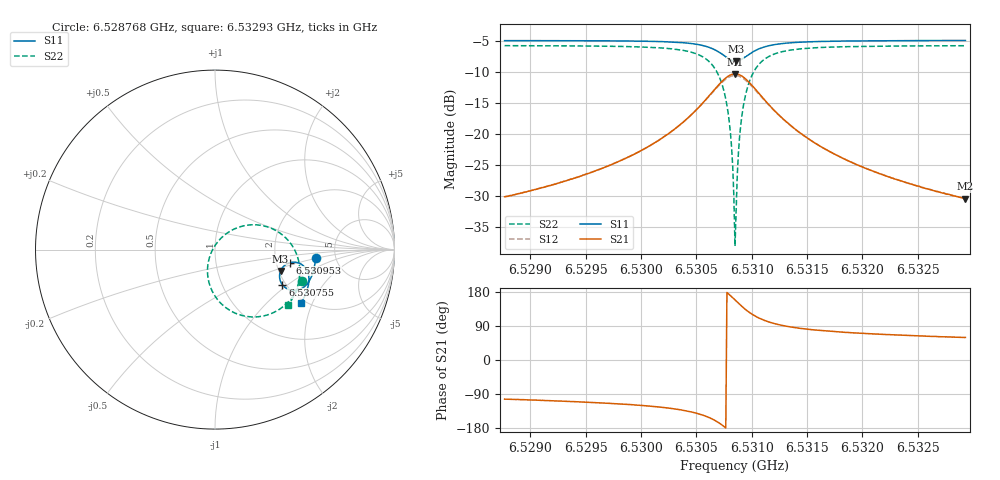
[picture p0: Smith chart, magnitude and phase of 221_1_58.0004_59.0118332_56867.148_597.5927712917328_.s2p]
#  HZ  S  RI  R  50.00
! Rohde & Schwarz Vector Network Analyzer
! Rohde-Schwarz,ZNB20-2Port,1311601062101988,3.16
! Created: UTC 3/21/2024, 1:00:09 AM
! freq[Hz]  re:S11  im:S11  re:S21  im:S21  re:S12  im:S12  re:S22  im:S22
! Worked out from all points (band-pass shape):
!   401 points, 6.528768 GHz to 6.53293 GHz, reference 50 ohm
!   highest |S21| = -10.37 dB at 6.530849 GHz (marker M1); lowest = -30.5 dB at 6.53293 GHz (marker M2)
!   |S21| within 3 dB of the highest: 6.530641 GHz to 6.531058 GHz (416.9 kHz wide, 0.00638 % of centre)
!   lowest |S11| = -8.3 dB at 6.530859 GHz (marker M3), VSWR 2.25, Z = 102 - j28.5 ohm
!   |S11| at or under -10 dB: nowhere
!   |S22| runs from -38.2 to -5.8 dB; largest |S21 - S12| = 0.012
!   S11 on the Smith chart (normalised r, x): 6.528768 GHz: 3.49, -0.50; 6.530755 GHz: 1.92, -0.91; 6.530953 GHz: 2.37, -0.42; 6.53293 GHz: 1.90, -1.66
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6.5287684e9  0.5604 -0.0488  -0.00711 -0.0301  -0.00762 -0.0299  0.4822 -0.1731
6.5294654e9  0.5513 -0.1068  -0.0163 -0.0427  -0.0173 -0.0424  0.4509 -0.2368
6.5301624e9  0.5241 -0.1765  -0.0494 -0.0735  -0.0516 -0.072  0.3691 -0.3258
6.5304017e9  0.4978 -0.2067  -0.0888 -0.0927  -0.0917 -0.0896  0.289 -0.3649
6.5305785e9  0.4547 -0.2267  -0.1564 -0.0991  -0.1587 -0.0928  0.1645 -0.3704
6.5306826e9  0.4101 -0.2222  -0.2251 -0.0734  -0.2243 -0.0636  0.0488 -0.3142
6.5307554e9  0.3753 -0.1957  -0.2757 -0.0153  -0.2701 -0.0054  -0.026 -0.2075
6.530797e9  0.3621 -0.1682  -0.2915 0.0369  -0.2827 0.0452  -0.042 -0.1181
6.5308178e9  0.3597 -0.1519  -0.292 0.0666  -0.2822 0.0732  -0.0372 -0.0694
6.5308282e9  0.3597 -0.1437  -0.2904 0.0817  -0.2799 0.0873  -0.0312 -0.0451
6.5308386e9  0.3607 -0.1352  -0.2868 0.0967  -0.2763 0.1014  -0.0231 -0.0212
6.530849e9  0.3625 -0.127  -0.2821 0.1113  -0.2713 0.1151  -0.0122 0.00185
6.5308594e9  0.3652 -0.1189  -0.2756 0.1254  -0.2649 0.1282  0.00078 0.0236
6.5308698e9  0.3689 -0.1114  -0.2682 0.1389  -0.2573 0.1406  0.0158 0.044
6.5308906e9  0.3783 -0.0974  -0.2493 0.1626  -0.2393 0.1627  0.051 0.0793
6.530901e9  0.3839 -0.0916  -0.2386 0.1729  -0.2288 0.1721  0.0704 0.094
6.5309531e9  0.4163 -0.0727  -0.179 0.2047  -0.1722 0.2018  0.1743 0.1352
6.5310259e9  0.459 -0.0723  -0.1046 0.2071  -0.1009 0.2041  0.2991 0.1242
6.5311299e9  0.4963 -0.0939  -0.0404 0.1765  -0.0387 0.175  0.4025 0.0569
6.531546e9  0.5236 -0.173  0.0153 0.0854  0.0163 0.0851  0.4725 -0.134
6.532243e9  0.5058 -0.2447  0.0175 0.0411  0.0182 0.0407  0.4432 -0.2492
6.5329296e9  0.4801 -0.2965  0.0152 0.0258  0.0158 0.0254  0.4079 -0.309
